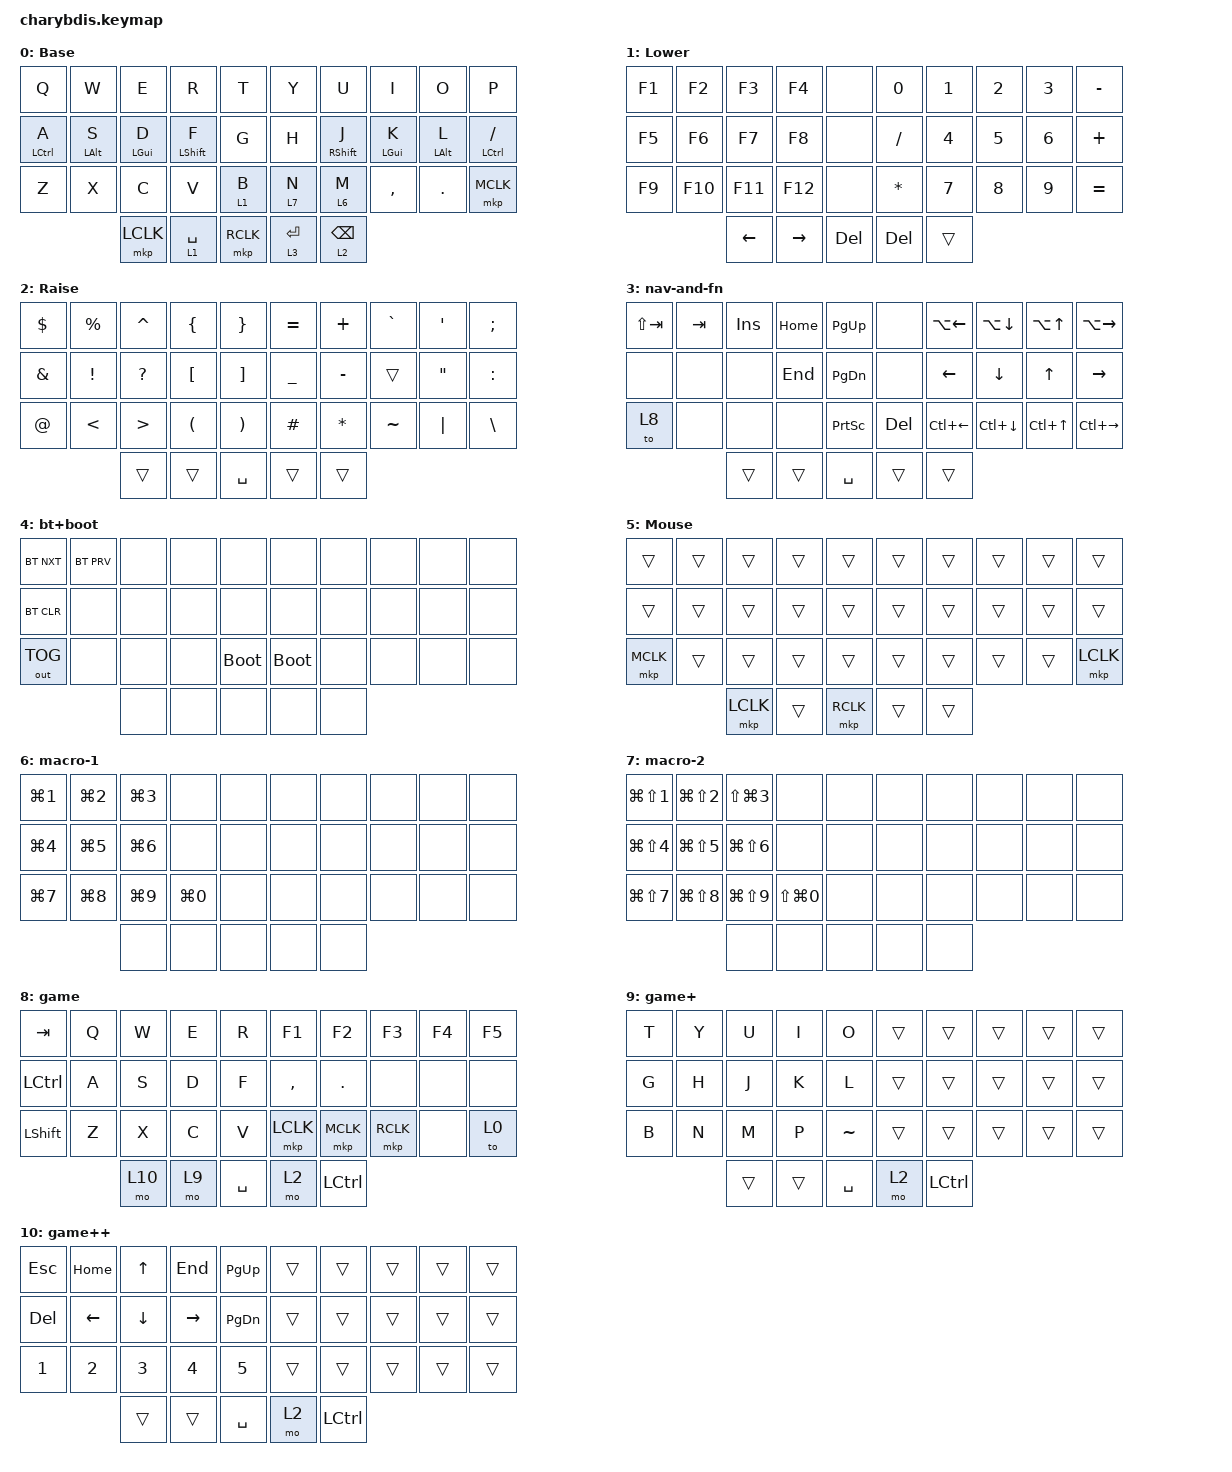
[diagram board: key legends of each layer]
#include <behaviors.dtsi>
#include <dt-bindings/zmk/keys.h>
#include <dt-bindings/zmk/bt.h>
#include <dt-bindings/zmk/ext_power.h>
#include <dt-bindings/zmk/mouse.h>
#include <dt-bindings/zmk/outputs.h>

#define HM_TAPPING_TERM 300
#define HM_TAPPING_TERM_FAST 200
#define HM_PRIOR_IDLE 150

#define COMBO_TERM_FAST 35
#define COMBO_TERM_SLOW 40
#define COMBO_PRIOR_IDLE 100

/ {
    trackball_listener {
        compatible = "zmk,input-behavior-listener";
        device = <&vtrackball>;
        layers = <0 2 3 4 5>;
        evt-type = <INPUT_EV_REL>;
        x-input-code = <INPUT_REL_X>;
        y-input-code = <INPUT_REL_Y>;
        scale-multiplier = <1>;
        scale-divisor = <4>;
        bindings = <&ib_toggle_layer 5>;
    };

    trackball_snipe_listener {
        compatible = "zmk,input-behavior-listener";   
        device = <&vtrackball>;
        layers = <>;
        evt-type = <INPUT_EV_REL>;
        x-input-code = <INPUT_REL_X>;
        y-input-code = <INPUT_REL_Y>;
        scale-multiplier = <1>;
        scale-divisor = <12>;
    };

    trackball_scroll_listener {
        compatible = "zmk,input-behavior-listener";
        device = <&vtrackball>;
        layers = <1>;
        evt-type = <INPUT_EV_REL>;            
        x-input-code = <INPUT_REL_MISC>;
        y-input-code = <INPUT_REL_WHEEL>;
        y-invert;
        bindings = <&ib_wheel_scaler 1 16>;
    };

    ib_wheel_scaler: ib_wheel_scaler {
        compatible = "zmk,input-behavior-scaler";
        #binding-cells = <2>;
        evt-type = <INPUT_EV_REL>;
        input-code = <INPUT_REL_WHEEL>;
    };

    ib_toggle_layer: ib_toggle_layer {
        compatible = "zmk,input-behavior-tog-layer";
        #binding-cells = <1>;
        time-to-live-ms = <750>;
    };

    behaviors {
        lt: layer_tap {
            compatible = "zmk,behavior-hold-tap";
            #binding-cells = <2>;
            flavor = "balanced";
            tapping-term-ms = <240>;
            quick-tap-ms = <150>;
            bindings = <&mo>, <&kp>;
        };

        bhm: balanced_homerow_mods {
            compatible = "zmk,behavior-hold-tap";
            #binding-cells = <2>;
            tapping-term-ms = <HM_TAPPING_TERM>;
            quick-tap-ms = <175>;
            require-prior-idle-ms = <HM_PRIOR_IDLE>;
            flavor = "balanced";
            bindings = <&kp>, <&kp>;
        };
    };
    combos {
        compatible = "zmk,combos";

        escape {
            bindings = <&kp ESCAPE>;
            key-positions = <8 9>;
            require-prior-idle-ms = <COMBO_PRIOR_IDLE>;
        };

        tab {
            bindings = <&kp TAB>;
            key-positions = <0 1>;
            require-prior-idle-ms = <COMBO_PRIOR_IDLE>;
        };

        delete {
            bindings = <&kp DELETE>;
            key-positions = <29 28>;
            require-prior-idle-ms = <COMBO_PRIOR_IDLE>;
        };

        bt+boot_right {
            bindings = <&mo 4>;
            key-positions = <5 6 7 8>;
        };

        bt+boot_left {
            bindings = <&mo 4>;
            key-positions = <1 2 3 4>;
        };
    };

    keymap {
        compatible = "zmk,keymap";

        Base {
            label = "Base";
            bindings = <
  &kp Q         &kp W        &kp E        &kp R          &kp T        &kp Y            &kp U               &kp I            &kp O            &kp P
  &bhm LCTRL A  &bhm LALT S  &bhm LGUI D  &bhm LSHIFT F  &kp G        &kp H            &bhm RIGHT_SHIFT J  &bhm LEFT_GUI K  &bhm LEFT_ALT L  &bhm LCTRL SLASH
  &kp Z         &kp X        &kp C        &kp V          &lt 1 B      &lt 7 N          &lt 6 M             &kp COMMA        &kp DOT          &mkp MCLK
                             &mkp LCLK    &lt 1 SPACE    &mkp RCLK    &lt 3 RET        &lt 2 BACKSPACE
            >;
        };

        Lower {
            label = "Lower";
            bindings = <
  &kp F1  &kp F2   &kp F3    &kp F4     &none         &kp N0        &kp N1  &kp N2  &kp N3        &kp MINUS
  &kp F5  &kp F6   &kp F7    &kp F8     &none         &kp SLASH     &kp N4  &kp N5  &kp NUMBER_6  &kp PLUS
  &kp F9  &kp F10  &kp F11   &kp F12    &none         &kp ASTERISK  &kp N7  &kp N8  &kp N9        &kp EQUAL
                   &kp LEFT  &kp RIGHT  &kp DELETE    &kp DEL       &trans
            >;
        };

        Raise {
            label = "Raise";
            bindings = <
  &kp DOLLAR  &kp PERCENT    &kp CARET         &kp LBRC  &kp RBRC     &kp EQUAL  &kp PLUS      &kp GRAVE  &kp SINGLE_QUOTE   &kp SEMICOLON
  &kp AMPS    &kp EXCL       &kp QMARK         &kp LBKT  &kp RBKT     &kp UNDER  &kp MINUS     &trans     &kp DOUBLE_QUOTES  &kp COLON
  &kp AT      &kp LESS_THAN  &kp GREATER_THAN  &kp LPAR  &kp RPAR     &kp HASH   &kp ASTERISK  &kp TILDE  &kp PIPE           &kp BACKSLASH
                             &trans            &trans    &kp SPACE    &trans     &trans
            >;
        };

        nav-and-fn {
            label = "nav-and-fn";
            bindings = <
  &kp LS(TAB)  &kp TAB  &kp INSERT  &kp HOME  &kp PAGE_UP        &none       &kp LA(LEFT)  &kp LA(DOWN)  &kp LA(UP)  &kp LA(RIGHT)
  &none        &none    &none       &kp END   &kp PAGE_DOWN      &none       &kp LEFT      &kp DOWN      &kp UP      &kp RIGHT
  &to 8        &none    &none       &none     &kp PRINTSCREEN    &kp DELETE  &kp LC(LEFT)  &kp LC(DOWN)  &kp LC(UP)  &kp LC(RIGHT)
                        &trans      &trans    &kp SPACE          &trans      &trans
            >;
        };

        bt+boot {
            label = "bt+boot";
            bindings = <
  &bt BT_NXT    &bt BT_PRV  &none  &none  &none          &none        &none  &none  &none  &none
  &bt BT_CLR    &none       &none  &none  &none          &none        &none  &none  &none  &none
  &out OUT_TOG  &none       &none  &none  &bootloader    &bootloader  &none  &none  &none  &none
                            &none  &none  &none          &none        &none
            >;
        };

        Mouse {
            bindings = <
  &trans     &trans  &trans     &trans  &trans       &trans  &trans  &trans  &trans  &trans
  &trans     &trans  &trans     &trans  &trans       &trans  &trans  &trans  &trans  &trans
  &mkp MCLK  &trans  &trans     &trans  &trans       &trans  &trans  &trans  &trans  &mkp LCLK
                     &mkp LCLK  &trans  &mkp RCLK    &trans  &trans
            >;
        };

        macro-1 {
            bindings = <
  &kp LG(N1)  &kp LG(N2)  &kp LG(N3)  &none       &none    &none  &none  &none  &none  &none
  &kp LG(N4)  &kp LG(N5)  &kp LG(N6)  &none       &none    &none  &none  &none  &none  &none
  &kp LG(N7)  &kp LG(N8)  &kp LG(N9)  &kp LG(N0)  &none    &none  &none  &none  &none  &none
                          &none       &none       &none    &none  &none
            >;
        };

        macro-2 {
            bindings = <
  &kp LG(LS(N1))  &kp LG(LS(N2))  &kp LS(LG(N3))  &none           &none    &none  &none  &none  &none  &none
  &kp LG(LS(N4))  &kp LG(LS(N5))  &kp LG(LS(N6))  &none           &none    &none  &none  &none  &none  &none
  &kp LG(LS(N7))  &kp LG(LS(N8))  &kp LG(LS(N9))  &kp LS(LG(N0))  &none    &none  &none  &none  &none  &none
                                  &none           &none           &none    &none  &none
            >;
        };

        game {
            bindings = <
  &kp TAB     &kp Q  &kp W   &kp E  &kp R        &kp F1     &kp F2            &kp F3     &kp F4  &kp F5
  &kp LCTRL   &kp A  &kp S   &kp D  &kp F        &kp COMMA  &kp PERIOD        &none      &none   &none
  &kp LSHIFT  &kp Z  &kp X   &kp C  &kp V        &mkp LCLK  &mkp MCLK         &mkp RCLK  &none   &to 0
                     &mo 10  &mo 9  &kp SPACE    &mo 2      &kp LEFT_CONTROL
            >;
        };

        game+ {
            bindings = <
  &kp T  &kp Y  &kp U   &kp I   &kp O        &trans  &trans            &trans  &trans  &trans
  &kp G  &kp H  &kp J   &kp K   &kp L        &trans  &trans            &trans  &trans  &trans
  &kp B  &kp N  &kp M   &kp P   &kp TILDE    &trans  &trans            &trans  &trans  &trans
                &trans  &trans  &kp SPACE    &mo 2   &kp LEFT_CONTROL
            >;
        };

        game++ {
            bindings = <
  &kp ESC  &kp HOME  &kp UP    &kp END    &kp PAGE_UP      &trans  &trans            &trans  &trans  &trans
  &kp DEL  &kp LEFT  &kp DOWN  &kp RIGHT  &kp PAGE_DOWN    &trans  &trans            &trans  &trans  &trans
  &kp N1   &kp N2    &kp N3    &kp N4     &kp N5           &trans  &trans            &trans  &trans  &trans
                     &trans    &trans     &kp SPACE        &mo 2   &kp LEFT_CONTROL
            >;
        };
    };
};
